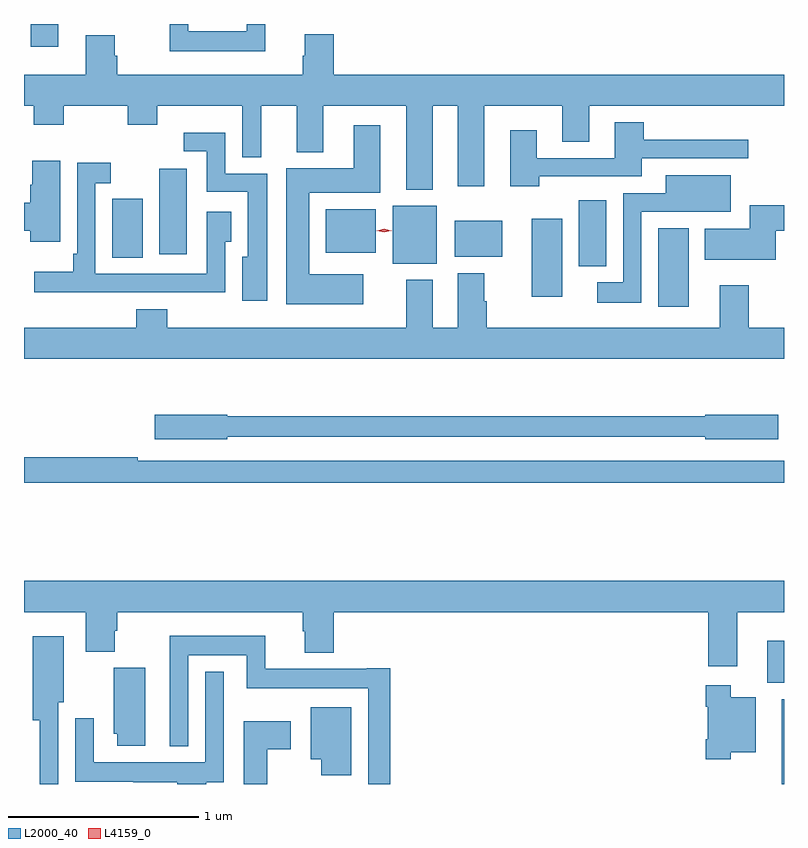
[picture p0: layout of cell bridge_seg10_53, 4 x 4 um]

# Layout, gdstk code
import gdstk
lib = gdstk.Library(unit=1e-6, precision=1e-09)
def R(c, l, rs):  # rectangles x0, y0, x1, y1
    for r in rs: c.add(gdstk.rectangle(r[:2], r[2:], *l))
def P(c, l, *ps):  # polygons
    for p in ps: c.add(gdstk.Polygon(p, *l))
L2000_40 = (2000, 40)
L4159_0 = (4159, 0)

bridge_seg10_53 = lib.new_cell('bridge_seg10_53')
R(bridge_seg10_53, L2000_40, [(869.714,1272.771,869.725,1273.216), (869.636,1273.305,869.725,1273.525), (869.063,1275.282,869.224,1275.697), (868.397,1275.336,868.558,1275.745), (868.646,1275.497,868.789,1275.844), (867.665,1275.509,867.898,1275.814), (866.189,1275.541,866.35,1275.852), (867.992,1275.545,868.243,1275.736), (866.438,1275.558,866.581,1276.009), (867.314,1275.566,867.577,1275.796), (865.76,1276.65,865.906,1276.771)])
P(bridge_seg10_53, L2000_40, [(866.996,1276.771),(866.898,1276.771),(866.898,1276.732),(866.589,1276.732),(866.589,1276.771),(866.492,1276.771),(866.492,1276.628),(866.996,1276.628)],
  [(867.877,1276.34),(868.007,1276.34),(868.007,1275.918),(868.147,1275.918),(868.147,1276.34),(868.559,1276.34),(868.559,1276.15),(868.699,1276.15),(868.699,1276.34),(869.725,1276.34),(869.725,1276.504),(867.356,1276.504),(867.356,1276.717),(867.203,1276.717),(867.203,1276.605),(867.191,1276.605),(867.191,1276.504),(866.216,1276.504),(866.216,1276.604),(866.203,1276.604),(866.203,1276.713),(866.051,1276.713),(866.051,1276.504),(865.725,1276.504),(865.725,1276.34),(865.775,1276.34),(865.775,1276.241),(865.935,1276.241),(865.935,1276.34),(866.272,1276.34),(866.272,1276.241),(866.427,1276.241),(866.427,1276.34),(866.873,1276.34),(866.873,1276.069),(866.974,1276.069),(866.974,1276.34),(867.161,1276.34),(867.161,1276.097),(867.301,1276.097),(867.301,1276.34),(867.737,1276.34),(867.737,1275.899),(867.877,1275.899)],
  [(868.436,1275.969),(868.975,1275.969),(868.975,1276.065),(869.536,1276.065),(869.536,1276.162),(868.988,1276.162),(868.988,1276.255),(868.835,1276.255),(868.835,1276.065),(868.423,1276.065),(868.423,1276.213),(868.283,1276.213),(868.283,1275.918),(868.436,1275.918)],
  [(867.511,1275.454),(867.226,1275.454),(867.226,1275.884),(867.601,1275.884),(867.601,1276.237),(867.461,1276.237),(867.461,1276.012),(867.104,1276.012),(867.104,1275.296),(867.511,1275.296)],
  [(867.004,1275.984),(866.784,1275.984),(866.784,1276.198),(866.565,1276.198),(866.565,1276.101),(866.688,1276.101),(866.688,1275.888),(866.903,1275.888),(866.903,1275.547),(866.873,1275.547),(866.873,1275.315),(867.004,1275.315)],
  [(865.915,1276.051),(865.769,1276.051),(865.769,1275.926),(865.757,1275.926),(865.757,1275.83),(865.725,1275.83),(865.725,1275.683),(865.757,1275.683),(865.757,1275.624),(865.915,1275.624)],
  [(866.197,1275.36),(866.563,1275.36),(866.563,1275.359),(866.784,1275.359),(866.784,1275.625),(866.815,1275.625),(866.815,1275.784),(866.688,1275.784),(866.688,1275.456),(866.1,1275.456),(866.1,1275.933),(866.182,1275.933),(866.182,1276.042),(866.004,1276.042),(866.004,1275.562),(865.984,1275.562),(865.984,1275.466),(865.779,1275.466),(865.779,1275.359),(866.197,1275.359)],
  [(868.974,1275.783),(869.22,1275.783),(869.22,1275.782),(869.446,1275.782),(869.446,1275.976),(869.102,1275.976),(869.102,1275.879),(868.878,1275.879),(868.878,1275.412),(868.743,1275.412),(868.743,1275.305),(868.974,1275.305)],
  [(869.681,1275.683),(869.725,1275.683),(869.725,1275.818),(869.546,1275.818),(869.546,1275.694),(869.309,1275.694),(869.309,1275.53),(869.681,1275.53)],
  [(868.007,1275.46),(868.007,1275.172),(867.877,1275.172),(867.877,1275.424),(867.737,1275.424),(867.737,1275.172),(866.48,1275.172),(866.48,1275.271),(866.315,1275.271),(866.315,1275.172),(865.725,1275.172),(865.725,1275.008),(869.725,1275.008),(869.725,1275.172),(869.54,1275.172),(869.54,1275.397),(869.387,1275.397),(869.387,1275.172),(868.16,1275.172),(868.16,1275.311),(868.147,1275.311),(868.147,1275.46)],
  [(866.796,1274.598),(869.31,1274.598),(869.31,1274.585),(869.695,1274.585),(869.695,1274.715),(869.31,1274.715),(869.31,1274.707),(866.796,1274.707),(866.796,1274.715),(866.412,1274.715),(866.412,1274.585),(866.796,1274.585)],
  [(869.725,1274.472),(866.324,1274.472),(866.324,1274.492),(865.725,1274.492),(865.725,1274.356),(869.725,1274.356)],
  [(869.479,1273.676),(869.725,1273.676),(869.725,1273.84),(865.725,1273.84),(865.725,1273.676),(866.051,1273.676),(866.051,1273.468),(866.203,1273.468),(866.203,1273.577),(866.216,1273.577),(866.216,1273.676),(867.191,1273.676),(867.191,1273.575),(867.203,1273.575),(867.203,1273.463),(867.356,1273.463),(867.356,1273.676),(869.327,1273.676),(869.327,1273.392),(869.479,1273.392)],
  [(867.653,1273.381),(867.53,1273.381),(867.53,1273.378),(866.996,1273.378),(866.996,1273.552),(866.492,1273.552),(866.492,1272.971),(866.589,1272.971),(866.589,1273.448),(866.898,1273.448),(866.898,1273.274),(867.537,1273.274),(867.537,1272.771),(867.653,1272.771)],
  [(865.905,1273.2),(865.933,1273.2),(865.933,1273.549),(865.772,1273.549),(865.772,1273.106),(865.808,1273.106),(865.808,1272.771),(865.905,1272.771)],
  [(866.362,1273.383),(866.198,1273.383),(866.198,1273.035),(866.216,1273.035),(866.216,1272.972),(866.362,1272.972)],
  [(866.683,1272.78),(866.775,1272.78),(866.775,1273.363),(866.679,1273.363),(866.679,1272.886),(866.091,1272.886),(866.091,1273.117),(865.995,1273.117),(865.995,1272.782),(866.299,1272.782),(866.299,1272.78),(866.531,1272.78),(866.531,1272.771),(866.683,1272.771)],
  [(869.446,1272.938),(869.575,1272.938),(869.575,1273.228),(869.446,1273.228),(869.446,1273.291),(869.312,1273.291),(869.312,1273.178),(869.324,1273.178),(869.324,1273.006),(869.312,1273.006),(869.312,1272.902),(869.446,1272.902)],
  [(867.448,1273.174),(867.233,1273.174),(867.233,1272.902),(867.29,1272.902),(867.29,1272.816),(867.448,1272.816)],
  [(867.004,1272.955),(867.13,1272.955),(867.13,1273.102),(866.882,1273.102),(866.882,1272.771),(867.004,1272.771)])
P(bridge_seg10_53, L4159_0, [(867.62,1275.674),(867.582,1275.684),(867.581,1275.684),(867.582,1275.684),(867.621,1275.694),(867.659,1275.684),(867.66,1275.683),(867.659,1275.683)])

lib.write_gds('bridge_seg10_53.gds')
